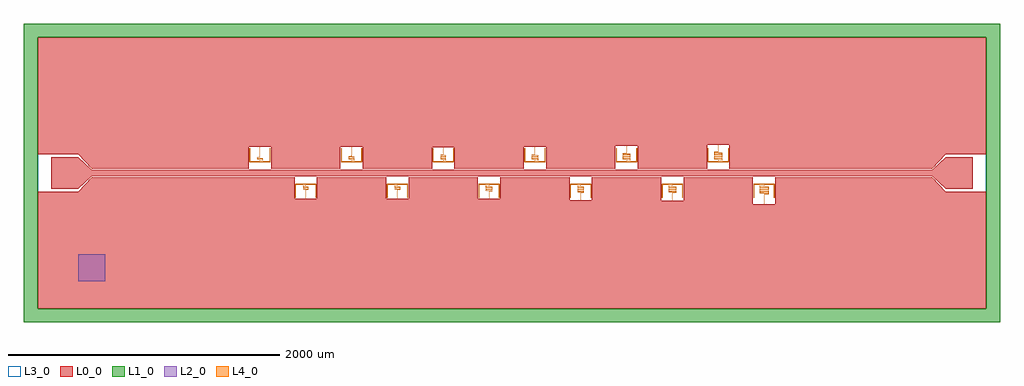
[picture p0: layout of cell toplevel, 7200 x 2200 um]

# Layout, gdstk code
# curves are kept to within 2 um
import gdstk
lib = gdstk.Library(unit=1e-6, precision=1e-09)
def R(c, l, rs):  # rectangles x0, y0, x1, y1
    for r in rs: c.add(gdstk.rectangle(r[:2], r[2:], *l))
def P(c, l, *ps):  # polygons
    for p in ps: c.add(gdstk.Polygon(p, *l))
L0_0 = (0, 0)
L1_0 = (1, 0)
L2_0 = (2, 0)
L3_0 = (3, 0)
L4_0 = (4, 0)

toplevel = lib.new_cell('toplevel')
P(toplevel, L0_0, [(-1777.5,195.05),(-1777.5,30.05),(-1266.136,30.05),(-1266.136,195.05),(-1101.136,195.05),(-1101.136,30.05),(-589.773,30.05),(-589.773,190.05),(-424.773,190.05),(-424.773,30.05),(86.591,30.05),(86.591,195.05),(251.591,195.05),(251.591,30.05),(762.954,30.05),(762.954,200.05),(927.954,200.05),(927.954,30.05),(1439.318,30.05),(1439.318,210.05),(1604.318,210.05),(1604.318,30.05),(3100,30.05),(3200,137.954),(3500,137.954),(3500,1000),(-3500,1000),(-3500,137.954),(-3200,137.954),(-3100,30.05),(-1942.5,30.05),(-1942.5,195.05)],
  [(3100,-30.05),(1942.5,-30.05),(1942.5,-230.05),(1777.5,-230.05),(1777.5,-30.05),(1266.136,-30.05),(1266.136,-205.05),(1101.136,-205.05),(1101.136,-30.05),(589.773,-30.05),(589.773,-200.05),(424.773,-200.05),(424.773,-30.05),(-86.591,-30.05),(-86.591,-190.05),(-251.591,-190.05),(-251.591,-30.05),(-762.954,-30.05),(-762.954,-190.05),(-927.954,-190.05),(-927.954,-30.05),(-1439.318,-30.05),(-1439.318,-190.05),(-1604.318,-190.05),(-1604.318,-30.05),(-3100,-30.05),(-3200,-137.954),(-3500,-137.954),(-3500,-1000),(3500,-1000),(3500,-137.954),(3200,-137.954)],
  [(-3100,25.05),(-3200,115),(-3400,115),(-3400,-115),(-3200,-115),(-3100,-25.05),(3100,-25.05),(3200,-115),(3400,-115),(3400,115),(3200,115),(3100,25.05)])
P(toplevel, L1_0, [(3600,1100),(-3600,1100),(-3600,-1000),(-3500,-1000),(-3500,1000),(3500,1000),(3500,-1000),(-3500,-1000),(-3600,-1000),(-3600,-1100),(3600,-1100)])
R(toplevel, L2_0, [(-3200,-800,-3000,-600)])
R(toplevel, L3_0, [(-3500,-1000,3500,1000)])
P(toplevel, L4_0, [(-1859.7,93.97),(-1859.077,94.747),(-1840.737,94.765),(-1839.92,95.198),(-1839.7,96.172),(-1839.752,99.524),(-1840.73,100.335),(-1878.985,100.35),(-1879.675,100.759),(-1879.688,104.256),(-1879.21,104.737),(-1840.957,104.751),(-1839.74,105.628),(-1839.738,109.466),(-1840.706,110.332),(-1878.985,110.35),(-1879.671,110.74),(-1879.692,114.213),(-1879.325,114.717),(-1860.882,114.754),(-1859.747,115.595),(-1859.7,195.05),(-1860.3,195.05),(-1860.331,115.733),(-1860.971,115.351),(-1879.481,115.296),(-1880.272,114.408),(-1880.256,110.608),(-1879.042,109.751),(-1840.79,109.737),(-1840.312,109.256),(-1840.327,105.751),(-1841.015,105.35),(-1879.294,105.332),(-1880.261,104.466),(-1880.263,100.641),(-1879.048,99.751),(-1840.803,99.739),(-1840.316,99.285),(-1840.311,95.853),(-1840.909,95.353),(-1859.612,95.255),(-1860.277,94.376),(-1860.3,90.05),(-1870,85.05),(-1932.27,85.329),(-1932.502,180.159),(-1932.952,181.484),(-1934.043,182.36),(-1935.326,182.529),(-1936.607,181.965),(-1937.5,180.05),(-1937.475,86.004),(-1936.915,83.45),(-1935.498,81.501),(-1933.414,80.386),(-1930.644,80.05),(-1789.356,80.05),(-1786.888,80.303),(-1784.934,81.168),(-1783.1,83.415),(-1782.503,86.613),(-1782.5,180.05),(-1783.085,181.657),(-1784.353,182.465),(-1785.752,182.434),(-1786.983,181.572),(-1787.498,180.159),(-1787.751,85.301),(-1850,85.05),(-1859.7,90.05)],
  [(-1522.119,-94.074),(-1522.691,-94.745),(-1539.437,-94.847),(-1540.096,-95.73),(-1540.118,-98.928),(-1539.424,-100.258),(-1504.741,-100.352),(-1504.118,-101.11),(-1504.13,-104.252),(-1504.591,-104.735),(-1538.872,-104.751),(-1540.081,-105.641),(-1540.081,-109.459),(-1539.138,-110.328),(-1504.828,-110.35),(-1504.145,-110.751),(-1504.129,-114.247),(-1504.591,-114.735),(-1538.872,-114.751),(-1540.074,-115.608),(-1540.082,-119.453),(-1539.138,-120.328),(-1504.828,-120.35),(-1504.15,-120.729),(-1504.126,-124.208),(-1504.475,-124.712),(-1520.942,-124.754),(-1522.063,-125.563),(-1522.118,-190.05),(-1521.518,-190.05),(-1521.482,-125.714),(-1520.857,-125.351),(-1504.298,-125.286),(-1503.543,-124.389),(-1503.567,-120.589),(-1504.77,-119.751),(-1539.045,-119.735),(-1539.507,-119.247),(-1539.489,-115.74),(-1538.808,-115.35),(-1504.498,-115.328),(-1503.555,-114.459),(-1503.559,-110.621),(-1504.764,-109.751),(-1539.045,-109.735),(-1539.507,-109.252),(-1539.493,-105.759),(-1538.808,-105.35),(-1504.498,-105.328),(-1503.555,-104.459),(-1503.554,-100.647),(-1503.96,-99.974),(-1504.798,-99.751),(-1539.041,-99.736),(-1539.506,-99.26),(-1539.507,-95.853),(-1538.862,-95.351),(-1522.173,-95.242),(-1521.534,-94.32),(-1521.518,-90.05),(-1511.818,-85.05),(-1449.548,-85.329),(-1449.316,-180.159),(-1448.866,-181.484),(-1447.775,-182.36),(-1446.492,-182.529),(-1445.211,-181.965),(-1444.318,-180.05),(-1444.34,-86.059),(-1444.874,-83.519),(-1446.223,-81.586),(-1448.303,-80.417),(-1451.174,-80.05),(-1592.462,-80.05),(-1594.93,-80.303),(-1596.884,-81.168),(-1598.718,-83.415),(-1599.315,-86.613),(-1599.318,-180.05),(-1598.733,-181.657),(-1597.465,-182.465),(-1596.066,-182.434),(-1594.835,-181.572),(-1594.321,-180.159),(-1594.067,-85.301),(-1531.818,-85.05),(-1522.118,-90.05)],
  [(-1183.336,93.97),(-1183.203,94.586),(-1182.69,94.748),(-1163.928,94.759),(-1163.069,95.18),(-1162.836,96.151),(-1162.883,99.504),(-1163.829,100.33),(-1203.03,100.35),(-1203.812,100.767),(-1203.829,104.213),(-1203.384,104.732),(-1164.111,104.751),(-1163.266,104.983),(-1162.876,105.628),(-1162.867,109.427),(-1163.886,110.337),(-1203.035,110.35),(-1203.811,110.759),(-1203.824,114.26),(-1203.317,114.741),(-1164.128,114.751),(-1162.891,115.563),(-1162.866,119.42),(-1163.873,120.335),(-1203.117,120.35),(-1203.801,120.714),(-1203.829,124.213),(-1203.454,124.719),(-1184.53,124.753),(-1183.397,125.543),(-1183.336,195.05),(-1183.936,195.05),(-1183.975,125.703),(-1184.612,125.351),(-1203.61,125.298),(-1204.41,124.401),(-1204.381,120.563),(-1203.173,119.751),(-1163.943,119.739),(-1163.445,119.226),(-1163.477,115.696),(-1164.253,115.35),(-1203.4,115.335),(-1204.385,114.524),(-1204.395,110.621),(-1204.006,109.983),(-1203.162,109.751),(-1163.956,109.741),(-1163.449,109.264),(-1163.462,105.759),(-1164.243,105.35),(-1203.431,105.332),(-1204.394,104.485),(-1204.402,100.654),(-1204.019,99.992),(-1203.167,99.751),(-1163.918,99.736),(-1163.447,99.239),(-1163.444,95.887),(-1164.088,95.352),(-1183.262,95.25),(-1183.92,94.326),(-1183.936,90.05),(-1193.636,85.05),(-1255.905,85.327),(-1256.139,180.159),(-1256.588,181.484),(-1257.58,182.316),(-1258.963,182.529),(-1260.243,181.965),(-1261.136,180.05),(-1261.113,86.031),(-1260.536,83.415),(-1259.167,81.529),(-1257.084,80.396),(-1254.28,80.05),(-1112.992,80.05),(-1110.524,80.303),(-1108.571,81.168),(-1106.752,83.381),(-1106.139,86.638),(-1106.136,180.05),(-1106.721,181.657),(-1107.989,182.465),(-1109.492,182.399),(-1110.62,181.572),(-1111.134,180.159),(-1111.384,85.305),(-1173.636,85.05),(-1183.336,90.05)],
  [(-845.756,-94.079),(-846.411,-94.749),(-865.04,-94.835),(-865.754,-96.053),(-865.727,-99.408),(-865.047,-100.263),(-826.474,-100.35),(-825.91,-100.491),(-825.755,-101.1),(-825.766,-104.252),(-826.244,-104.737),(-864.497,-104.751),(-865.71,-105.608),(-865.716,-109.466),(-864.749,-110.332),(-826.474,-110.35),(-825.786,-110.733),(-825.766,-114.252),(-826.244,-114.737),(-864.491,-114.751),(-865.703,-115.576),(-865.717,-119.459),(-864.749,-120.331),(-826.474,-120.35),(-825.791,-120.71),(-825.762,-124.213),(-826.133,-124.718),(-844.561,-124.753),(-845.69,-125.53),(-845.754,-190.05),(-845.154,-190.05),(-845.114,-125.696),(-844.479,-125.351),(-825.967,-125.295),(-825.18,-124.395),(-825.211,-120.556),(-826.418,-119.751),(-864.665,-119.737),(-865.143,-119.252),(-865.121,-115.722),(-864.435,-115.35),(-826.16,-115.331),(-825.192,-114.459),(-825.202,-110.595),(-826.412,-109.751),(-864.665,-109.737),(-865.143,-109.252),(-865.125,-105.74),(-864.44,-105.35),(-826.16,-105.332),(-825.193,-104.466),(-825.197,-100.615),(-826.348,-99.753),(-864.673,-99.736),(-865.142,-99.26),(-865.148,-95.9),(-864.489,-95.351),(-845.849,-95.258),(-845.171,-94.332),(-845.154,-90.05),(-835.454,-85.05),(-773.184,-85.329),(-772.952,-180.159),(-772.502,-181.484),(-771.411,-182.36),(-770.128,-182.529),(-768.847,-181.965),(-767.954,-180.05),(-767.978,-86.031),(-768.51,-83.519),(-769.924,-81.529),(-772.007,-80.396),(-774.811,-80.05),(-916.098,-80.05),(-918.567,-80.303),(-920.52,-81.168),(-922.339,-83.381),(-922.951,-86.588),(-922.954,-180.05),(-922.37,-181.657),(-921.101,-182.465),(-919.599,-182.399),(-918.471,-181.572),(-917.957,-180.159),(-917.706,-85.304),(-855.454,-85.05),(-845.754,-90.05)],
  [(-506.973,93.964),(-506.391,94.746),(-488.559,94.76),(-487.744,95.132),(-487.473,96.053),(-487.526,99.531),(-488.497,100.334),(-525.758,100.35),(-526.445,100.748),(-526.461,104.252),(-525.987,104.737),(-488.724,104.751),(-487.915,104.974),(-487.515,105.615),(-487.51,109.459),(-488.472,110.331),(-525.758,110.35),(-526.442,110.736),(-526.461,114.252),(-525.987,114.737),(-488.73,114.751),(-487.927,114.965),(-487.523,115.582),(-487.51,119.459),(-488.472,120.331),(-525.753,120.35),(-526.437,120.714),(-526.462,124.247),(-525.987,124.737),(-488.736,124.751),(-487.535,125.537),(-487.509,129.453),(-488.472,130.331),(-525.753,130.35),(-526.43,130.689),(-526.465,134.208),(-526.097,134.717),(-508.167,134.753),(-507.051,135.484),(-506.973,190.05),(-507.573,190.05),(-507.62,135.675),(-508.248,135.351),(-526.266,135.293),(-527.048,134.389),(-527.005,130.517),(-525.809,129.751),(-488.558,129.737),(-488.084,129.247),(-488.112,125.7),(-488.792,125.35),(-526.073,125.331),(-527.037,124.453),(-527.018,120.563),(-526.612,119.961),(-525.815,119.751),(-488.558,119.737),(-488.084,119.252),(-488.106,115.725),(-488.787,115.35),(-526.073,115.331),(-527.036,114.459),(-527.027,110.602),(-526.587,109.944),(-525.815,109.751),(-488.558,109.737),(-488.084,109.252),(-488.1,105.748),(-488.787,105.35),(-526.073,105.331),(-527.036,104.459),(-527.032,100.621),(-526.655,99.992),(-525.885,99.753),(-488.55,99.736),(-488.085,99.26),(-488.079,95.9),(-488.734,95.351),(-506.885,95.255),(-507.557,94.326),(-507.573,90.05),(-517.273,85.05),(-577.893,85.05),(-579.543,85.329),(-579.775,180.159),(-580.225,181.484),(-581.316,182.36),(-582.599,182.529),(-583.88,181.965),(-584.773,180.05),(-584.746,85.976),(-584.157,83.381),(-582.771,81.501),(-580.72,80.396),(-577.917,80.05),(-436.629,80.05),(-434.16,80.303),(-432.207,81.168),(-430.373,83.415),(-429.775,86.663),(-429.773,180.05),(-430.429,181.739),(-431.732,182.491),(-433.128,182.399),(-434.321,181.484),(-434.77,180.159),(-435.021,85.304),(-497.273,85.05),(-506.973,90.05)],
  [(-169.392,-94.084),(-169.991,-94.746),(-191.072,-94.803),(-191.696,-95.236),(-191.89,-96.047),(-191.862,-99.414),(-191.117,-100.284),(-147.616,-100.35),(-147.026,-100.512),(-146.891,-101.09),(-146.903,-104.256),(-147.398,-104.739),(-190.622,-104.751),(-191.43,-104.961),(-191.839,-105.576),(-191.852,-109.466),(-190.86,-110.335),(-147.616,-110.35),(-146.928,-110.71),(-146.903,-114.256),(-147.398,-114.739),(-190.616,-114.751),(-191.411,-114.948),(-191.829,-115.537),(-191.854,-119.459),(-190.86,-120.335),(-147.621,-120.35),(-146.934,-120.689),(-146.902,-124.252),(-147.398,-124.739),(-190.611,-124.751),(-191.815,-125.49),(-191.855,-129.453),(-190.86,-130.335),(-147.626,-130.35),(-146.942,-130.662),(-146.899,-134.213),(-147.289,-134.722),(-168.168,-134.752),(-169.296,-135.438),(-169.391,-190.05),(-168.791,-190.05),(-168.734,-135.648),(-168.096,-135.351),(-147.143,-135.304),(-146.317,-134.395),(-146.376,-130.464),(-147.571,-129.751),(-190.784,-129.739),(-191.279,-129.252),(-191.244,-125.675),(-190.561,-125.35),(-147.321,-125.335),(-146.328,-124.459),(-146.359,-120.517),(-146.777,-119.944),(-147.565,-119.751),(-190.784,-119.739),(-191.279,-119.256),(-191.251,-115.7),(-190.561,-115.35),(-147.321,-115.335),(-146.329,-114.466),(-146.348,-110.556),(-146.764,-109.953),(-147.565,-109.751),(-190.784,-109.739),(-191.279,-109.256),(-191.257,-105.722),(-190.566,-105.35),(-147.321,-105.335),(-146.329,-104.466),(-146.341,-100.582),(-146.752,-99.961),(-147.56,-99.751),(-190.758,-99.742),(-191.279,-99.252),(-191.278,-95.836),(-190.615,-95.351),(-169.531,-95.274),(-168.809,-94.344),(-168.791,-90.05),(-159.091,-85.05),(-98.471,-85.05),(-96.822,-85.327),(-96.588,-180.159),(-96.139,-181.484),(-95.048,-182.36),(-93.765,-182.529),(-92.484,-181.965),(-91.591,-180.05),(-91.616,-86.004),(-92.191,-83.415),(-93.56,-81.529),(-95.643,-80.396),(-98.447,-80.05),(-239.735,-80.05),(-242.203,-80.303),(-244.157,-81.168),(-245.975,-83.381),(-246.588,-86.638),(-246.591,-180.05),(-246.006,-181.657),(-244.738,-182.465),(-243.339,-182.434),(-242.107,-181.572),(-241.593,-180.159),(-241.343,-85.305),(-179.091,-85.05),(-169.391,-90.05)],
  [(169.391,93.975),(169.51,94.569),(170.042,94.748),(190.78,94.758),(191.644,95.162),(191.891,96.145),(191.839,99.524),(190.817,100.339),(147.697,100.35),(146.915,100.767),(146.899,104.217),(147.352,104.734),(190.611,104.751),(191.417,104.953),(191.829,105.537),(191.855,109.453),(190.898,110.33),(147.697,110.35),(146.929,110.707),(146.904,114.268),(147.419,114.741),(190.679,114.752),(191.442,114.97),(191.834,115.556),(191.86,119.427),(191.556,120.037),(190.836,120.337),(147.621,120.35),(146.931,120.7),(146.903,124.256),(147.398,124.739),(190.616,124.751),(191.405,124.944),(191.823,125.517),(191.854,129.459),(190.86,130.335),(147.621,130.35),(146.938,130.675),(146.899,134.213),(147.289,134.722),(168.174,134.752),(169.306,135.464),(169.391,195.05),(168.791,195.05),(168.739,135.662),(168.101,135.351),(147.143,135.304),(146.318,134.401),(146.367,130.49),(147.571,129.751),(190.784,129.739),(191.279,129.252),(191.248,125.689),(190.561,125.35),(147.321,125.335),(146.328,124.459),(146.353,120.537),(146.771,119.948),(147.565,119.751),(190.771,119.741),(191.282,119.23),(191.249,115.693),(190.635,115.351),(147.34,115.337),(146.323,114.433),(146.331,110.628),(146.727,109.978),(147.571,109.751),(190.762,109.741),(191.277,109.273),(191.253,105.707),(190.485,105.35),(147.321,105.335),(146.339,104.511),(146.324,100.66),(146.715,99.987),(147.571,99.751),(190.801,99.737),(191.28,99.247),(191.283,95.883),(190.63,95.351),(169.498,95.263),(168.809,94.338),(168.791,90.05),(159.091,85.05),(98.471,85.05),(96.822,85.327),(96.588,180.159),(96.139,181.484),(95.048,182.36),(93.765,182.529),(92.484,181.965),(91.591,180.05),(91.616,86.004),(92.191,83.415),(93.56,81.529),(95.643,80.396),(98.447,80.05),(239.735,80.05),(242.203,80.303),(244.157,81.168),(245.975,83.381),(246.588,86.638),(246.591,180.05),(246.006,181.657),(244.738,182.465),(243.339,182.434),(242.107,181.572),(241.593,180.159),(241.343,85.305),(179.091,85.05),(169.391,90.05)],
  [(506.971,-94.108),(506.83,-94.596),(506.321,-94.748),(485.24,-94.818),(484.633,-95.294),(484.473,-96.145),(484.497,-99.389),(485.22,-100.276),(528.835,-100.352),(529.357,-100.536),(529.473,-101.13),(529.456,-104.293),(528.927,-104.743),(485.753,-104.751),(484.909,-104.978),(484.511,-105.634),(484.509,-109.453),(485.466,-110.33),(528.666,-110.35),(529.447,-110.755),(529.461,-114.256),(528.957,-114.74),(485.753,-114.751),(484.921,-114.97),(484.52,-115.595),(484.51,-119.459),(485.491,-120.333),(528.666,-120.35),(529.432,-120.696),(529.457,-124.285),(528.978,-124.738),(485.684,-124.752),(484.94,-124.957),(484.526,-125.569),(484.514,-129.478),(484.866,-130.089),(485.516,-130.336),(528.743,-130.35),(529.427,-130.679),(529.461,-134.252),(528.966,-134.739),(485.753,-134.751),(484.971,-134.937),(484.549,-135.49),(484.509,-139.453),(484.837,-140.064),(485.503,-140.335),(528.738,-140.35),(529.421,-140.662),(529.465,-144.213),(529.075,-144.722),(508.196,-144.752),(507.067,-145.438),(506.973,-200.05),(507.573,-200.05),(507.629,-145.648),(508.268,-145.351),(529.221,-145.304),(530.047,-144.395),(529.988,-140.464),(529.561,-139.929),(528.792,-139.751),(485.58,-139.739),(485.084,-139.252),(485.12,-135.675),(485.802,-135.35),(529.042,-135.335),(529.709,-135.064),(530.037,-134.453),(529.999,-130.497),(529.574,-129.937),(528.792,-129.751),(485.61,-129.742),(485.084,-129.252),(485.11,-125.707),(485.879,-125.35),(529.073,-125.331),(529.715,-125.058),(530.04,-124.433),(530.024,-120.589),(529.618,-119.965),(528.792,-119.751),(485.575,-119.739),(485.082,-119.234),(485.112,-115.7),(485.879,-115.35),(529.036,-115.335),(530.024,-114.511),(530.03,-110.615),(529.593,-109.948),(528.792,-109.751),(485.601,-109.741),(485.087,-109.277),(485.11,-105.707),(485.879,-105.35),(529.042,-105.335),(529.703,-105.069),(530.037,-104.453),(530.039,-100.66),(529.649,-99.987),(528.792,-99.751),(485.563,-99.737),(485.084,-99.247),(485.081,-95.883),(485.734,-95.351),(506.865,-95.263),(507.555,-94.338),(507.573,-90.05),(517.273,-85.05),(577.893,-85.05),(579.543,-85.329),(579.775,-180.159),(580.225,-181.484),(581.316,-182.36),(582.599,-182.529),(583.88,-181.965),(584.773,-180.05),(584.746,-85.976),(584.157,-83.381),(582.771,-81.501),(580.72,-80.396),(577.917,-80.05),(436.629,-80.05),(434.16,-80.303),(432.207,-81.168),(430.373,-83.415),(429.775,-86.663),(429.773,-180.05),(430.429,-181.739),(431.732,-182.491),(433.128,-182.399),(434.321,-181.484),(434.77,-180.159),(434.773,-86.87),(435.021,-85.304),(436.653,-85.05),(497.273,-85.05),(506.973,-90.05)],
  [(845.755,93.975),(845.906,94.606),(846.425,94.749),(871.435,94.803),(872.035,95.198),(872.253,95.996),(872.226,99.414),(871.554,100.26),(819.792,100.358),(819.262,100.892),(819.46,104.648),(871.205,104.763),(871.914,105.057),(872.235,105.749),(872.246,109.246),(871.867,110.084),(870.919,110.35),(819.792,110.358),(819.263,110.874),(819.408,114.607),(871.199,114.763),(871.902,115.047),(872.229,115.705),(872.25,119.186),(871.968,119.986),(870.93,120.35),(819.787,120.358),(819.272,120.803),(819.254,123.949),(819.381,124.577),(819.873,124.747),(871.026,124.752),(871.775,124.948),(872.174,125.477),(872.226,129.414),(871.896,130.058),(871.193,130.338),(819.999,130.35),(819.311,130.648),(819.266,134.252),(819.783,134.742),(870.957,134.75),(871.724,134.918),(872.157,135.431),(872.219,139.453),(871.879,140.074),(871.193,140.338),(819.999,140.35),(819.317,140.632),(819.263,144.217),(819.683,144.728),(844.508,144.751),(845.633,145.372),(845.754,200.05),(845.154,200.05),(845.087,145.62),(844.445,145.35),(819.552,145.314),(818.681,144.401),(818.762,140.405),(819.198,139.91),(819.952,139.75),(871.126,139.742),(871.643,139.252),(871.597,135.645),(870.915,135.35),(819.716,135.338),(819.03,135.074),(818.69,134.453),(818.749,130.438),(819.179,129.921),(819.952,129.75),(871.104,129.743),(871.642,129.256),(871.601,125.655),(870.843,125.35),(819.685,125.335),(819.054,125.094),(818.696,124.478),(818.729,120.497),(819.231,119.893),(820.061,119.75),(871.135,119.741),(871.642,119.256),(871.614,115.696),(870.848,115.35),(819.716,115.338),(819.03,115.074),(818.689,114.446),(818.721,110.523),(819.179,109.921),(820.061,109.75),(871.113,109.743),(871.638,109.289),(871.615,105.7),(870.843,105.35),(819.71,105.337),(819.036,105.079),(818.697,104.485),(818.71,100.563),(819.091,99.978),(819.86,99.753),(871.073,99.746),(871.641,99.264),(871.646,95.883),(870.979,95.351),(845.915,95.28),(845.175,94.357),(845.154,90.05),(835.454,85.05),(774.835,85.05),(773.184,85.329),(772.954,87.096),(772.952,180.159),(772.502,181.484),(771.411,182.36),(770.128,182.529),(768.847,181.965),(768.189,181.106),(767.954,180.05),(767.978,86.031),(768.51,83.519),(769.924,81.529),(772.007,80.396),(774.811,80.05),(916.098,80.05),(918.567,80.303),(920.52,81.168),(922.339,83.381),(922.951,86.588),(922.954,180.05),(922.37,181.657),(921.101,182.465),(919.599,182.399),(918.471,181.572),(917.957,180.159),(917.954,86.87),(917.706,85.304),(916.074,85.05),(855.454,85.05),(845.754,90.05)],
  [(1183.334,-94.113),(1183.182,-94.607),(1182.666,-94.749),(1156.662,-94.802),(1156.015,-95.261),(1155.836,-96.151),(1155.867,-99.427),(1156.649,-100.295),(1210.18,-100.351),(1210.717,-100.531),(1210.836,-101.136),(1210.815,-104.317),(1210.273,-104.744),(1157.243,-104.75),(1156.361,-104.921),(1155.897,-105.543),(1155.882,-109.498),(1156.236,-110.094),(1156.928,-110.341),(1210.18,-110.351),(1210.796,-110.696),(1210.822,-114.277),(1210.299,-114.742),(1157.048,-114.752),(1156.291,-114.965),(1155.906,-115.51),(1155.866,-119.42),(1156.177,-120.042),(1156.886,-120.337),(1210.025,-120.35),(1210.795,-120.693),(1210.826,-124.243),(1210.321,-124.74),(1157.071,-124.752),(1156.322,-124.944),(1155.919,-125.471),(1155.865,-129.414),(1156.194,-130.058),(1156.898,-130.338),(1210.092,-130.35),(1210.782,-130.655),(1210.824,-134.256),(1210.303,-134.742),(1157.133,-134.75),(1156.361,-134.921),(1155.928,-135.444),(1155.873,-139.459),(1156.212,-140.074),(1156.904,-140.338),(1210.092,-140.35),(1210.776,-140.639),(1210.828,-144.221),(1210.404,-144.729),(1184.582,-144.751),(1183.449,-145.392),(1183.336,-205.05),(1183.936,-205.05),(1184.002,-145.626),(1184.646,-145.35),(1210.533,-145.315),(1211.123,-145.015),(1211.41,-144.401),(1211.334,-140.418),(1210.899,-139.914),(1210.139,-139.75),(1156.974,-139.742),(1156.448,-139.256),(1156.492,-135.652),(1157.181,-135.35),(1210.369,-135.338),(1211.061,-135.074),(1211.399,-134.459),(1211.347,-130.451),(1210.912,-129.921),(1210.139,-129.75),(1156.987,-129.743),(1156.448,-129.256),(1156.477,-125.696),(1157.098,-125.351),(1210.4,-125.335),(1211.078,-125.058),(1211.394,-124.485),(1211.364,-120.504),(1210.975,-119.961),(1210.225,-119.752),(1156.96,-119.741),(1156.448,-119.256),(1156.479,-115.689),(1157.093,-115.351),(1210.362,-115.339),(1211.043,-115.089),(1211.399,-114.459),(1211.37,-110.523),(1210.982,-109.965),(1210.225,-109.752),(1156.982,-109.743),(1156.453,-109.293),(1156.476,-105.7),(1157.093,-105.351),(1210.375,-105.338),(1211.043,-105.089),(1211.392,-104.491),(1211.383,-100.569),(1211,-99.978),(1210.231,-99.753),(1156.948,-99.74),(1156.437,-99.079),(1156.444,-95.883),(1156.772,-95.394),(1183.163,-95.284),(1183.916,-94.357),(1183.936,-90.05),(1193.636,-85.05),(1254.256,-85.05),(1255.883,-85.299),(1256.136,-86.87),(1256.139,-180.159),(1256.588,-181.484),(1257.58,-182.316),(1258.963,-182.529),(1260.243,-181.965),(1260.902,-181.106),(1261.136,-180.05),(1261.113,-86.031),(1260.536,-83.415),(1259.167,-81.529),(1257.084,-80.396),(1254.28,-80.05),(1112.992,-80.05),(1110.524,-80.303),(1108.571,-81.168),(1106.752,-83.381),(1106.139,-86.638),(1106.136,-180.05),(1106.721,-181.657),(1107.989,-182.465),(1109.492,-182.399),(1110.62,-181.572),(1111.134,-180.159),(1111.136,-87.033),(1111.384,-85.305),(1113.016,-85.05),(1173.636,-85.05),(1183.336,-90.05)],
  [(1522.118,93.975),(1522.239,94.571),(1522.779,94.749),(1551.026,94.759),(1551.852,95.137),(1552.118,96.172),(1552.061,99.544),(1551.7,100.108),(1551.014,100.342),(1492.858,100.35),(1492.155,100.71),(1492.132,104.268),(1492.664,104.743),(1550.827,104.751),(1551.638,104.948),(1552.06,105.55),(1552.077,109.478),(1551.731,110.084),(1551.032,110.34),(1492.858,110.35),(1492.159,110.696),(1492.131,114.264),(1492.664,114.743),(1550.821,114.75),(1551.626,114.94),(1552.05,115.517),(1552.078,119.472),(1551.731,120.084),(1551.032,120.34),(1492.863,120.35),(1492.164,120.679),(1492.131,124.264),(1492.664,124.743),(1550.815,124.75),(1551.607,124.929),(1552.038,125.477),(1552.08,129.466),(1551.731,130.084),(1551.032,130.34),(1492.863,130.35),(1492.171,130.658),(1492.131,134.26),(1492.664,134.743),(1550.815,134.75),(1551.587,134.918),(1552.024,135.438),(1552.081,139.459),(1551.737,140.079),(1551.032,140.34),(1492.868,140.35),(1492.18,140.636),(1492.13,144.256),(1492.664,144.743),(1550.81,144.75),(1551.562,144.904),(1552.002,145.385),(1552.082,149.453),(1551.737,150.079),(1551.038,150.339),(1492.868,150.35),(1492.19,150.611),(1492.127,154.221),(1492.567,154.732),(1520.855,154.751),(1521.975,155.326),(1522.118,210.05),(1521.518,210.05),(1521.439,155.596),(1520.798,155.35),(1492.448,155.32),(1491.837,155.02),(1491.545,154.401),(1491.646,150.359),(1492.088,149.897),(1492.826,149.75),(1550.972,149.743),(1551.506,149.256),(1551.451,145.623),(1550.768,145.35),(1492.598,145.339),(1491.9,145.079),(1491.554,144.453),(1491.623,140.411),(1492.062,139.91),(1492.826,139.75),(1550.972,139.743),(1551.506,139.26),(1551.462,135.648),(1550.773,135.35),(1492.604,135.34),(1491.906,135.084),(1491.557,134.466),(1491.606,130.458),(1492.036,129.925),(1492.821,129.75),(1550.972,129.743),(1551.506,129.26),(1551.469,125.668),(1550.773,125.35),(1492.604,125.34),(1491.906,125.084),(1491.558,124.472),(1491.592,120.497),(1492.017,119.937),(1492.815,119.75),(1550.972,119.743),(1551.505,119.264),(1551.475,115.689),(1550.778,115.35),(1492.604,115.34),(1491.906,115.084),(1491.558,114.472),(1491.582,110.53),(1492.004,109.944),(1492.815,109.75),(1550.972,109.743),(1551.505,109.264),(1551.48,105.707),(1550.778,105.35),(1492.604,105.34),(1491.906,105.084),(1491.559,104.478),(1491.575,100.556),(1491.992,99.953),(1492.81,99.751),(1550.963,99.744),(1551.376,99.596),(1551.514,99.168),(1551.514,95.932),(1551.2,95.399),(1522.318,95.291),(1521.546,94.408),(1521.518,90.05),(1511.818,85.05),(1451.198,85.05),(1449.575,85.296),(1449.318,86.971),(1449.316,180.159),(1448.866,181.484),(1447.775,182.36),(1446.492,182.529),(1445.211,181.965),(1444.552,181.106),(1444.318,180.05),(1444.34,86.059),(1444.874,83.519),(1446.223,81.586),(1448.303,80.417),(1451.174,80.05),(1592.462,80.05),(1594.93,80.303),(1596.884,81.168),(1597.976,82.183),(1598.718,83.415),(1599.315,86.613),(1599.318,180.05),(1598.733,181.657),(1597.465,182.465),(1596.066,182.434),(1594.835,181.572),(1594.321,180.159),(1594.318,86.89),(1594.067,85.301),(1592.438,85.05),(1531.818,85.05),(1522.118,90.05)],
  [(1859.698,-94.122),(1859.538,-94.615),(1859.015,-94.749),(1828.078,-94.79),(1827.415,-95.205),(1827.201,-96.019),(1827.224,-99.382),(1827.914,-100.265),(1891.614,-100.354),(1892.052,-100.498),(1892.195,-100.923),(1892.195,-104.168),(1891.965,-104.665),(1828.243,-104.764),(1827.53,-105.068),(1827.212,-105.811),(1827.212,-109.288),(1827.661,-110.139),(1828.611,-110.35),(1891.627,-110.355),(1892.191,-110.874),(1892.036,-114.616),(1828.249,-114.763),(1827.535,-115.063),(1827.222,-115.73),(1827.204,-119.174),(1827.53,-120.032),(1828.611,-120.35),(1891.623,-120.355),(1892.19,-120.861),(1892.065,-124.588),(1828.255,-124.763),(1827.552,-125.047),(1827.225,-125.711),(1827.204,-129.174),(1827.471,-129.968),(1828.611,-130.35),(1891.618,-130.354),(1892.188,-130.848),(1892.091,-134.554),(1891.388,-134.75),(1828.255,-134.763),(1827.564,-135.036),(1827.23,-135.679),(1827.394,-139.864),(1828.611,-140.35),(1891.609,-140.354),(1892.187,-140.836),(1892.115,-144.515),(1891.388,-144.75),(1828.382,-144.754),(1827.686,-144.944),(1827.27,-145.51),(1827.2,-149.042),(1827.524,-150.026),(1828.435,-150.348),(1891.45,-150.35),(1892.142,-150.645),(1892.191,-154.23),(1891.739,-154.734),(1860.963,-154.751),(1860.231,-154.918),(1859.808,-155.405),(1859.7,-230.05),(1860.3,-230.05),(1860.363,-155.632),(1861.02,-155.35),(1891.851,-155.323),(1892.47,-155.032),(1892.77,-154.42),(1892.703,-150.431),(1892.269,-149.918),(1891.492,-149.75),(1828.355,-149.744),(1827.813,-149.264),(1827.854,-145.655),(1828.55,-145.35),(1891.702,-145.341),(1892.406,-145.089),(1892.76,-144.472),(1892.717,-140.471),(1892.282,-139.925),(1891.492,-139.75),(1828.355,-139.744),(1827.813,-139.264),(1827.847,-135.675),(1828.545,-135.35),(1891.702,-135.341),(1892.406,-135.089),(1892.76,-134.472),(1892.728,-130.504),(1892.301,-129.937),(1891.497,-129.75),(1828.355,-129.744),(1827.814,-129.268),(1827.842,-125.693),(1828.545,-125.35),(1891.702,-125.341),(1892.406,-125.089),(1892.759,-124.478),(1892.738,-120.537),(1892.314,-119.944),(1891.497,-119.75),(1828.355,-119.744),(1827.814,-119.268),(1827.838,-115.707),(1828.545,-115.35),(1891.702,-115.341),(1892.406,-115.089),(1892.757,-114.485),(1892.745,-110.563),(1892.327,-109.953),(1891.503,-109.75),(1828.355,-109.744),(1827.814,-109.268),(1827.835,-105.718),(1828.545,-105.35),(1891.726,-105.339),(1892.436,-105.064),(1892.759,-104.478),(1892.754,-100.602),(1892.37,-99.983),(1891.548,-99.751),(1828.342,-99.743),(1827.817,-99.293),(1827.875,-95.605),(1828.485,-95.351),(1859.474,-95.298),(1860.039,-94.956),(1860.277,-94.376),(1860.3,-90.05),(1870,-85.05),(1930.62,-85.05),(1932.243,-85.296),(1932.5,-86.95),(1932.502,-180.159),(1932.782,-181.204),(1933.393,-181.965),(1934.248,-182.434),(1935.218,-182.54),(1936.768,-181.818),(1937.498,-180.159),(1937.5,-86.93),(1937.154,-84.102),(1935.964,-81.955),(1934.031,-80.606),(1931.327,-80.064),(1789.356,-80.05),(1786.987,-80.279),(1785.105,-81.055),(1784.007,-81.987),(1783.18,-83.242),(1782.507,-86.435),(1782.5,-180.05),(1782.69,-181.007),(1783.311,-181.893),(1784.248,-182.434),(1785.218,-182.54),(1786.768,-181.818),(1787.498,-180.159),(1787.5,-86.93),(1787.751,-85.301),(1789.38,-85.05),(1850,-85.05),(1859.7,-90.05)])

lib.write_gds('toplevel.gds')
